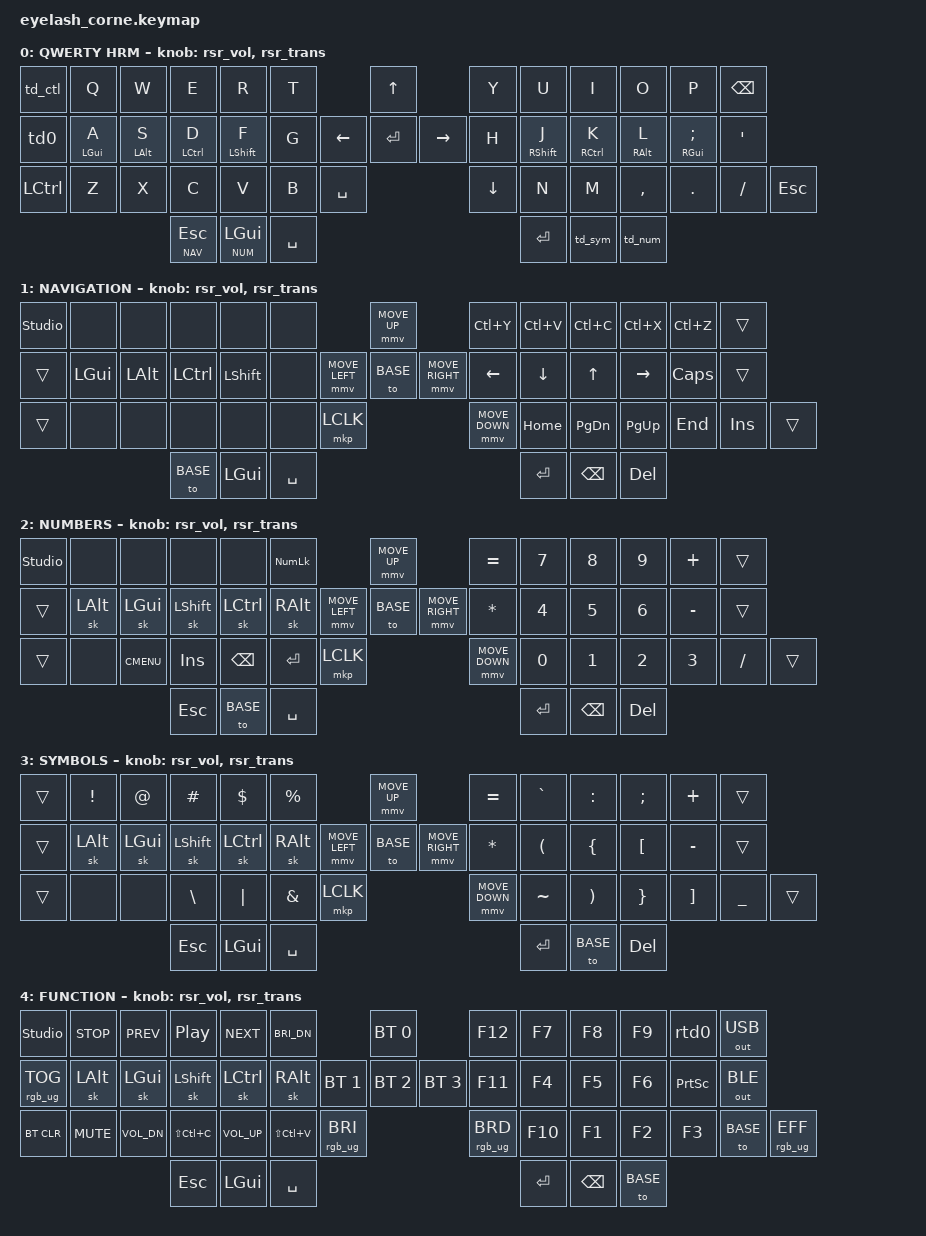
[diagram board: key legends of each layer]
#define ZMK_POINTING_DEFAULT_MOVE_VAL 1200  // 600
#define ZMK_POINTING_DEFAULT_SCRL_VAL 25    // 10

#define BASE 0
#define NAV  1
#define NUM  2
#define SYM  3
#define FUN  4

#include <input/processors.dtsi>
#include <zephyr/dt-bindings/input/input-event-codes.h>
#include <behaviors.dtsi>
#include <behaviors/runtime-sensor-rotate.dtsi>
#include <rpatel_runtime_tap_dance.dtsi>
#include <dt-bindings/zmk/bt.h>
#include <dt-bindings/zmk/keys.h>
#include <dt-bindings/zmk/outputs.h>
#include <dt-bindings/zmk/pointing.h>
#include <dt-bindings/zmk/rgb.h>

&mmv_input_listener {
    input-processors = <&zip_xy_scaler 2 1>;
};

&msc_input_listener {
    input-processors = <&zip_scroll_scaler 2 1>;
};

&msc {
    acceleration-exponent = <1>;
    time-to-max-speed-ms = <100>;
    delay-ms = <0>;
};

&mmv {
    time-to-max-speed-ms = <500>;
    acceleration-exponent = <1>;
    trigger-period-ms = <16>;
};

&soft_off {
    hold-time-ms = <2000>;
};

/ {
    behaviors {
        /*
         * Timeless-style home-row modifiers.
         *
         * Left:
         *   A = GUI, S = Alt, D = Ctrl, F = Shift
         *
         * Right:
         *   J = Shift, K = Ctrl, L = Alt, ; = GUI
         *
         * Opposite-hand positional filtering reduces accidental
         * modifier activation during normal same-hand typing rolls.
         */
        hml: home_row_mod_left {
            compatible = "zmk,behavior-hold-tap";
            #binding-cells = <2>;
            flavor = "balanced";
            tapping-term-ms = <280>;
            quick-tap-ms = <175>;
            require-prior-idle-ms = <125>;
            bindings = <&kp>, <&kp>;

            hold-trigger-key-positions = <
                6 7 8 9 10 11 12
                19 20 21 22 23 24 25 26 27
                34 35 36 37 38 39 40 41
                45 46 47
            >;

            hold-trigger-on-release;
            display-name = "Left Home Row Mod";
        };

        hmr: home_row_mod_right {
            compatible = "zmk,behavior-hold-tap";
            #binding-cells = <2>;
            flavor = "balanced";
            tapping-term-ms = <280>;
            quick-tap-ms = <175>;
            require-prior-idle-ms = <125>;
            bindings = <&kp>, <&kp>;

            hold-trigger-key-positions = <
                0 1 2 3 4 5 6
                13 14 15 16 17 18 19 20 21
                28 29 30 31 32 33 34 35
                42 43 44
            >;

            hold-trigger-on-release;
            display-name = "Right Home Row Mod";
        };

        /*
         * Quick tap sends a normal key.
         * Hold for 500 ms toggles the selected layer on.
         *
         * Parameter order:
         *   1 = layer
         *   2 = tap key
         */
        thumb_tog: thumb_hold_toggle {
            compatible = "zmk,behavior-hold-tap";
            #binding-cells = <2>;
            flavor = "tap-preferred";
            tapping-term-ms = <500>;
            quick-tap-ms = <0>;
            bindings = <&tog>, <&kp>;
            display-name = "Hold Toggle / Tap";
        };

        /*
         * Studio-assignable long-press shortcut behavior.
         *
         * Quick tap sends parameter 2.
         * Hold for 500 ms sends parameter 1.
         *
         * Parameter 1 may be a modified keycode such as
         * Ctrl+Shift+T or GUI+V.
         */
        long_shortcut: long_press_shortcut {
            compatible = "zmk,behavior-hold-tap";
            #binding-cells = <2>;
            flavor = "tap-preferred";
            tapping-term-ms = <500>;
            quick-tap-ms = <0>;
            bindings = <&kp>, <&kp>;
            display-name = "Hold Shortcut / Tap";
        };

        td0: td0 {
            compatible = "zmk,behavior-tap-dance";
            display-name = "Shift/Caps Lock";
            #binding-cells = <0>;
            bindings = <&kp LEFT_SHIFT>, <&kp CAPS>;
        };

        // Numbers/symbols quick-switch tap-dances (hold = momentary, so a
        // single symbol never needs the 500 ms toggle round-trip; double-tap
        // = lock the layer for digit/symbol-heavy entry like passwords;
        // triple-tap = escape to base from anywhere).
        td_num: td_num {
            compatible = "zmk,behavior-tap-dance";
            display-name = "Numbers Tap-Dance";
            #binding-cells = <0>;
            // Third slot is FUNCTION, not escape-to-base: this thumb is the
            // keymap's only FUNCTION access (and FUNCTION holds
            // &studio_unlock), so it must stay reachable. tap-tap-hold = FUN.
            bindings = <&mo NUM>, <&tog NUM>, <&mo FUN>;
        };

        td_sym: td_sym {
            compatible = "zmk,behavior-tap-dance";
            display-name = "Symbols Tap-Dance";
            #binding-cells = <0>;
            bindings = <&mo SYM>, <&tog SYM>, <&to BASE>;
        };

        // Left-outer top key: hold/chord = Ctrl, double-tap = lock NUMBERS,
        // triple-tap = lock SYMBOLS. Leaving a locked layer: the key is
        // transparent there, so the same double/triple tap toggles back off.
        td_ctl: td_ctl {
            compatible = "zmk,behavior-tap-dance";
            display-name = "Ctrl/Num/Sym Tap-Dance";
            #binding-cells = <0>;
            bindings = <&kp LCTRL>, <&tog NUM>, <&tog SYM>;
        };

        rsr_trans: rsr_trans {
            compatible = "zmk,behavior-runtime-sensor-rotate";
            #sensor-binding-cells = <0>;
            tap-ms = <0>;
        };

        rsr_vol: rsr_vol {
            compatible = "zmk,behavior-runtime-sensor-rotate";
            #sensor-binding-cells = <0>;
            tap-ms = <5>;
            cw-binding = <&kp C_VOL_UP>;
            ccw-binding = <&kp C_VOL_DN>;
        };
    };

    rgb_encoder: rgb_encoder {
        compatible = "zmk,behavior-sensor-rotate";
        #sensor-binding-cells = <0>;
        bindings = <&rgb_ug RGB_BRI>, <&rgb_ug RGB_BRD>;
    };

    scroll_encoder: scroll_encoder {
        compatible = "zmk,behavior-sensor-rotate";
        #sensor-binding-cells = <0>;
        bindings = <&msc SCRL_DOWN>, <&msc SCRL_UP>;
        tap-ms = <100>;
    };

    combos {
        compatible = "zmk,combos";

        softoff {
            bindings = <&soft_off>;
            key-positions = <1 15 29>;
        };
    };

    keymap {
        compatible = "zmk,keymap";

        /*
         * BASE — QWERTY with home-row modifiers
         *
         * Tap:
         *   A S D F       J K L ;
         *
         * Hold:
         *   GUI Alt Ctrl Shift    Shift Ctrl Alt GUI
         *
         * Thumbs:
         *
         *   Esc/Nav | GUI/Num | Space
         *   Enter   | Bspc/Sym | Del/Fun
         *
         * The four dual-role thumbs toggle their layer after a
         * deliberate 500 ms hold. The layer stays active after release.
         */
        base_layer {
            display-name = "QWERTY HRM";

            bindings = <
&td_ctl    &kp Q                 &kp W                 &kp E                    &kp R                  &kp T                                      &kp UP                   &kp Y          &kp U                  &kp I                    &kp O                  &kp P                   &kp BSPC
&td0       &hml LEFT_GUI A       &hml LEFT_ALT S       &hml LEFT_CONTROL D      &hml LEFT_SHIFT F      &kp G                         &kp LEFT  &kp ENTER  &kp RIGHT  &kp H          &hmr RIGHT_SHIFT J      &hmr RIGHT_CONTROL K    &hmr RIGHT_ALT L       &hmr RIGHT_GUI SEMI     &kp SQT
&kp LCTRL  &kp Z                 &kp X                 &kp C                    &kp V                  &kp B        &kp SPACE                        &kp DOWN                 &kp N          &kp M                  &kp COMMA                &kp DOT                &kp FSLH                &kp ESC
                                                       &thumb_tog NAV ESC       &thumb_tog NUM LEFT_GUI  &kp SPACE                                                                &kp ENTER      &td_sym                &td_num
            >;

            sensor-bindings = <&rsr_vol &rsr_trans>;
        };

        /*
         * NAVIGATION
         *
         * Right hand:
         *
         *   Redo  Paste Copy Cut  Undo
         *   Left  Down  Up   Right Caps
         *   Home  PgDn  PgUp End  Insert
         *
         * Left home row:
         *
         *   GUI Alt Ctrl Shift
         *
         * Tap the left-outer thumb to return to QWERTY.
         */
        navigation_layer {
            display-name = "NAVIGATION";

            bindings = <
// pos 0 = &studio_unlock (not &trans): base pos 0 is td_ctl now, so fall-through
// no longer reaches an unlock; every reachable layer needs its own. (2026-08-07)
&studio_unlock  &none          &none          &none             &none            &none                                  &mmv MOVE_UP                     &kp LC(Y)  &kp LC(V)  &kp LC(C)  &kp LC(X)  &kp LC(Z)  &trans
&trans  &kp LEFT_GUI   &kp LEFT_ALT   &kp LEFT_CONTROL  &kp LEFT_SHIFT   &none                     &mmv MOVE_LEFT  &to BASE  &mmv MOVE_RIGHT  &kp LEFT   &kp DOWN   &kp UP     &kp RIGHT  &kp CAPS   &trans
&trans  &none          &none          &none             &none            &none      &mkp LCLK                      &mmv MOVE_DOWN                   &kp HOME   &kp PG_DN  &kp PG_UP  &kp END    &kp INS    &trans
                                                 &to BASE       &kp LEFT_GUI  &kp SPACE                                                                 &kp ENTER  &kp BSPC  &kp DEL
            >;

            sensor-bindings = <&rsr_vol &rsr_trans>;
        };

        /*
         * NUMBERS
         *
         * Right-hand numpad:
         *
         *   =  7 8 9 +
         *   *  4 5 6 -
         *   0  1 2 3 /
         *
         * Tap the left-middle thumb to return to QWERTY.
         */
        numbers_layer {
            display-name = "NUMBERS";

            bindings = <
// pos 0 = &studio_unlock — same unlock-reachability rule as NAVIGATION above.
&studio_unlock  &none       &none          &none        &none          &kp KP_NLCK                              &mmv MOVE_UP                     &kp EQUAL  &kp N7  &kp N8  &kp N9  &kp PLUS   &trans
&trans  &sk LALT    &sk LGUI       &sk LSHFT    &sk LCTRL      &sk RALT                    &mmv MOVE_LEFT  &to BASE  &mmv MOVE_RIGHT  &kp ASTRK  &kp N4  &kp N5  &kp N6  &kp MINUS  &trans
&trans  &none       &kp K_CMENU    &kp INS      &kp BSPC       &kp ENTER      &mkp LCLK                    &mmv MOVE_DOWN                   &kp N0     &kp N1  &kp N2  &kp N3  &kp FSLH   &trans
                                           &kp ESC         &to BASE       &kp SPACE                                                               &kp ENTER  &kp BSPC  &kp DEL
            >;

            sensor-bindings = <&rsr_vol &rsr_trans>;
        };

        /*
         * SYMBOLS
         *
         *   ! @ # $ %       = ` : ; +
         *   sticky mods     * ( { [ -
         *       \ | &       ~ ) } ] _
         *
         * Tap the right-middle thumb to return to QWERTY.
         */
        symbols_layer {
            display-name = "SYMBOLS";

            bindings = <
&trans  &kp EXCL    &kp AT      &kp HASH    &kp DLLR    &kp PRCNT                              &mmv MOVE_UP                     &kp EQUAL  &kp GRAVE  &kp COLON  &kp SEMI  &kp PLUS   &trans
&trans  &sk LALT    &sk LGUI    &sk LSHFT   &sk LCTRL   &sk RALT                  &mmv MOVE_LEFT  &to BASE  &mmv MOVE_RIGHT  &kp ASTRK  &kp LPAR   &kp LBRC   &kp LBKT  &kp MINUS  &trans
&trans  &none       &none       &kp BSLH    &kp PIPE    &kp AMPS     &mkp LCLK                    &mmv MOVE_DOWN                   &kp TILDE  &kp RPAR   &kp RBRC   &kp RBKT  &kp UNDER  &trans
                                      &kp ESC       &kp LEFT_GUI  &kp SPACE                                                               &kp ENTER  &to BASE   &kp DEL
            >;

            sensor-bindings = <&rsr_vol &rsr_trans>;
        };

        /*
         * FUNCTION / SYSTEM
         *
         * Contains F-keys, media, Studio unlock, Bluetooth profiles,
         * selected-profile clearing, output selection and RGB controls.
         *
         * BT_CLR_ALL and settings_reset are intentionally absent.
         *
         * Tap the right-outer thumb to return to QWERTY.
         */
        function_layer {
            display-name = "FUNCTION";

            bindings = <
&studio_unlock     &kp C_STOP    &kp C_PREV      &kp C_PP        &kp C_NEXT      &kp C_BRI_DN                              &bt BT_SEL 0                    &kp F12  &kp F7  &kp F8  &kp F9  &rtd0      &out OUT_USB
&rgb_ug RGB_TOG    &sk LALT      &sk LGUI        &sk LSHFT       &sk LCTRL       &sk RALT                      &bt BT_SEL 1  &bt BT_SEL 2  &bt BT_SEL 3  &kp F11  &kp F4  &kp F5  &kp F6  &kp PSCRN  &out OUT_BLE
&bt BT_CLR         &kp C_MUTE    &kp C_VOL_DN    &kp LS(LC(C))   &kp C_VOL_UP    &kp LS(LC(V))  &rgb_ug RGB_BRI              &rgb_ug RGB_BRD                 &kp F10  &kp F1  &kp F2  &kp F3  &to BASE  &rgb_ug RGB_EFF
                                                   &kp ESC          &kp LEFT_GUI    &kp SPACE                                                                  &kp ENTER  &kp BSPC  &to BASE
            >;

            sensor-bindings = <&rsr_vol &rsr_trans>;
        };

        /*
         * Reserved Studio layers 5-15.
         *
         * ZMK Studio can enable, rename and populate these without
         * another firmware flash.
         */
        studio_layer_05 {
            status = "reserved";
        };

        studio_layer_06 {
            status = "reserved";
        };

        studio_layer_07 {
            status = "reserved";
        };

        studio_layer_08 {
            status = "reserved";
        };

        studio_layer_09 {
            status = "reserved";
        };

        studio_layer_10 {
            status = "reserved";
        };

        studio_layer_11 {
            status = "reserved";
        };

        studio_layer_12 {
            status = "reserved";
        };

        studio_layer_13 {
            status = "reserved";
        };

        studio_layer_14 {
            status = "reserved";
        };

        studio_layer_15 {
            status = "reserved";
        };
    };
};
